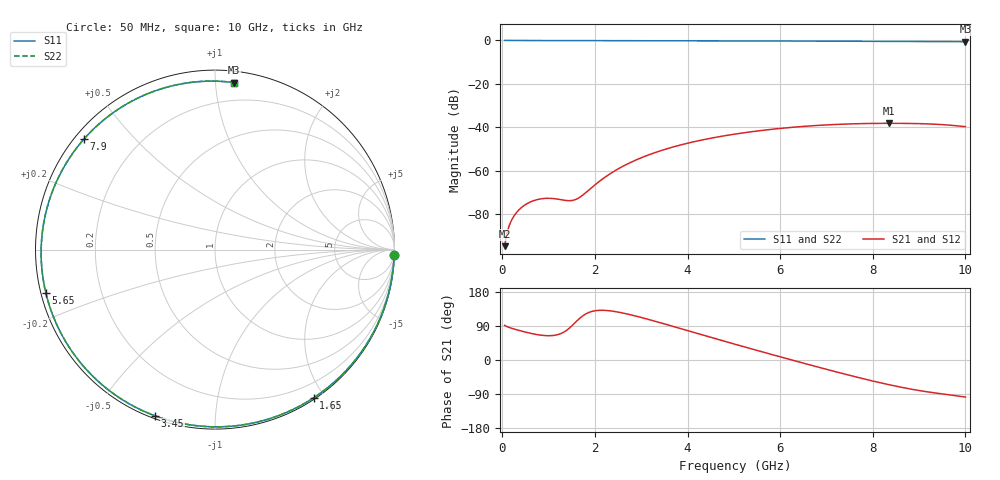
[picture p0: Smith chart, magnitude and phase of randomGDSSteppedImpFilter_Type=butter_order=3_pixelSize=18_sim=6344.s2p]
! freq	dB(S11)	phase(S11)	dB(S12)	phase(S12)
!  dB(S21)	phase(S21)	dB(S22)	phase(S22)
!S-par simulation data
#  GHz  S  DB  R 50
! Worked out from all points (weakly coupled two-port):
!   200 points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, 50 MHz to 10 GHz, reference 50 ohm
!   highest |S21| = -38.12 dB at 8.35 GHz (marker M1); lowest = -94.6 dB at 50 MHz (marker M2)
!   lowest |S11| = -0.6 dB at 10 GHz (marker M3), VSWR 30.54, Z = 3.69 + j55.9 ohm
!   |S11| at or under -10 dB: nowhere
!   |S22| runs from -0.6 to 0.0 dB; largest |S21 - S12| = 0
!   S11 on the Smith chart (normalised r, x): 50 MHz: 1, -67; 1.65 GHz: 0.02, -1.87; 3.45 GHz: 0.01, -0.70; 5.65 GHz: 0.01, -0.13; 7.9 GHz: 0.03, +0.37; 10 GHz: 0.07, +1.12
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0.05  -0.00 -1.7  -94.62 91.4  -94.62 91.4  -0.00 -1.7
0.25  -0.02 -8.8  -80.83 81.9  -80.83 81.9  -0.02 -8.8
0.5  -0.03 -17.5  -75.51 73.6  -75.51 73.6  -0.03 -17.5
0.8  -0.04 -27.9  -72.99 66.1  -72.99 66.1  -0.04 -27.9
1.05  -0.05 -36.5  -72.64 64.2  -72.64 64.2  -0.05 -36.5
1.45  -0.06 -49.9  -73.71 84.2  -73.71 84.2  -0.06 -49.9
1.65  -0.07 -56.4  -72.45 107.7  -72.45 107.7  -0.07 -56.4
1.75  -0.07 -59.6  -70.94 117.6  -70.94 117.6  -0.07 -59.6
2.15  -0.09 -72.2  -63.95 131.2  -63.95 131.2  -0.09 -72.2
2.5  -0.10 -82.8  -59.10 126.5  -59.10 126.5  -0.10 -82.8
2.9  -0.11 -94.5  -54.86 115.4  -54.86 115.4  -0.11 -94.5
3.4  -0.13 -108.5  -50.86 98.8  -50.86 98.8  -0.13 -108.5
3.45  -0.13 -109.9  -50.51 97.1  -50.51 97.1  -0.13 -109.9
4.25  -0.17 -131.0  -46.06 68.8  -46.06 68.8  -0.17 -131.0
5.05  -0.20 -151.0  -42.98 40.7  -42.98 40.7  -0.20 -151.0
5.65  -0.24 -165.6  -41.28 20.2  -41.28 20.2  -0.24 -165.5
6.7  -0.31 169.2  -39.23 -14.8  -39.23 -14.8  -0.31 169.3
7.3  -0.35 154.6  -38.54 -34.2  -38.54 -34.2  -0.35 154.7
7.9  -0.40 139.7  -38.19 -52.6  -38.19 -52.6  -0.40 139.8
8.35  -0.43 128.2  -38.12 -65.2  -38.12 -65.2  -0.43 128.3
9.2  -0.50 105.7  -38.39 -84.4  -38.39 -84.4  -0.50 105.8
10  -0.57 83.5  -39.65 -97.7  -39.65 -97.7  -0.57 83.6
